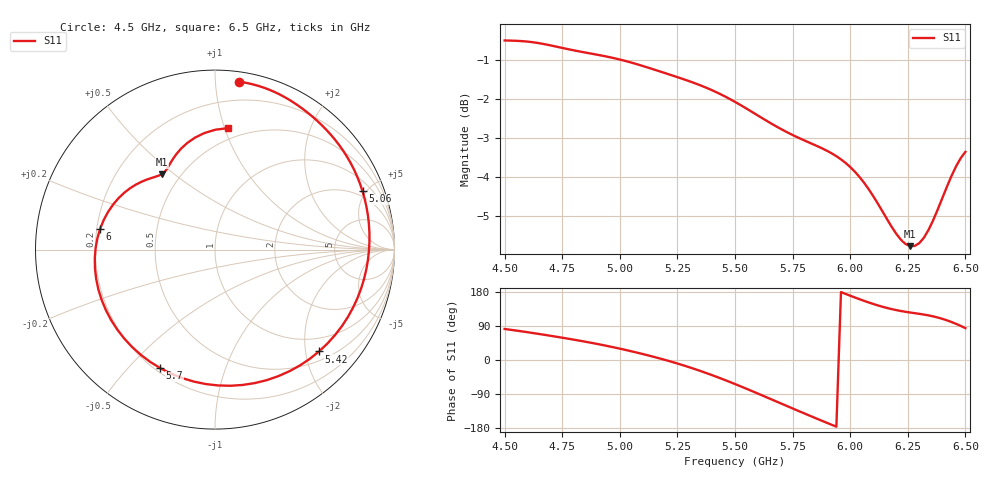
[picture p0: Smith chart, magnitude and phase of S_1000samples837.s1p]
! TOUCHSTONE file generated by CST MICROWAVE STUDIO
! Date and time: Sat Oct 29 13:37:42 2022
! Project name: L.cst
! Parameters = {Di=1.27; Epsilon_r=1.56; InnerDiameter=1.27; Length=2; Lf=10; Lg=60; OuterConductorThickness=0.2921; OuterDiameter=3.6; Wf=3; Wp=41.2; de=1.5; df=6.8; g=0.8; gx=4.06917; gy=1.62101; h=2.34; hf=1.524; px=10.1674; py=12.1146; w=9.7; wx=6.09821; wy=10.4935}
! Header version: 2018
! Port assignment regex: !\s*Touchstone port\s*([0-9]+)\s*=\s*(CST MWS port|CST DS port)\s*([0-9]+|Zmin|Zmax)\s*\(\"(.*)\"\)(\s*mode\s*([0-9]+))?.*
! Touchstone port assignment:
! Touchstone port 1 = CST MWS port 1 ("")
# GHz S DB R 50
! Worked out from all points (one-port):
!   101 points, 4.5 GHz to 6.5 GHz, reference 50 ohm
!   lowest |S11| = -5.8 dB at 6.26 GHz (marker M1), VSWR 3.12, Z = 19.8 + j22.6 ohm
!   |S11| at or under -10 dB: nowhere
!   S11 on the Smith chart (normalised r, x): 4.5 GHz: 0.07, +1.15; 5.06 GHz: 1.59, +4.73; 5.42 GHz: 0.69, -2.28; 5.7 GHz: 0.22, -0.62; 6 GHz: 0.21, +0.09; 6.5 GHz: 0.41, +1.02
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4.5  -0.49 81.8
4.62  -0.53 71.4
4.76  -0.69 57.8
4.88  -0.83 44.9
5  -0.98 29.9
5.06  -1.07 21.6
5.16  -1.25 6.3
5.26  -1.45 -11.1
5.34  -1.62 -26.9
5.42  -1.82 -44.4
5.5  -2.06 -63.4
5.56  -2.27 -78.5
5.6  -2.42 -88.8
5.64  -2.56 -99.2
5.7  -2.76 -114.8
5.76  -2.94 -130.4
5.82  -3.11 -145.9
5.88  -3.27 -161.1
5.94  -3.46 -175.9
6  -3.74 169.7
6.06  -4.14 156.2
6.12  -4.68 144.1
6.2  -5.46 131.7
6.26  -5.77 125.4
6.32  -5.56 119.9
6.4  -4.54 108.6
6.44  -3.97 100.2
6.5  -3.35 84.1
